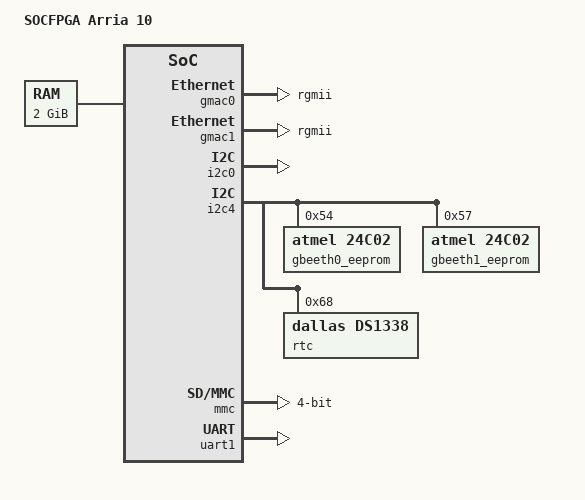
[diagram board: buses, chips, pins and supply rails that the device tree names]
/*
 * An Arria 10 platform
 * - 2GB memory
 * - 2 ethernet interfaces
 * - 2 eeproms holding EUI-48 for mac addresses
 * - serial console on second uart
 */
/dts-v1/;
#include <arm/socfpga_arria10.dtsi>

/ {
	model = "SOCFPGA Arria 10";
	compatible = "arria10,plat";

	aliases {
		serial0 = &uart1;
		ethernet0 = &gmac0;
		ethernet1 = &gmac1;
		mmc0 = &mmc;
	};

	chosen {
		linux,stdout-path = &uart1;

		environment@0 {
			compatible = "barebox,environment";
			device-path = &mmc, "partname:1";
			file-path = "barebox.env";
		};
	};

	memory {
		name = "memory";
		device_type = "memory";
		reg = <0x0 0x80000000>;
	};

	soc {
		clkmgr@ffd04000 {
			clocks {
				osc1 {
					clock-frequency = <25000000>;
				};
				cb_intosc_hs_div2_clk {
					clock-frequency = <0>;
				};
				cb_intosc_ls_clk {
					clock-frequency = <60000000>;
				};
				f2s_free_clk {
					clock-frequency = <200000000>;
				};
			};
		};
	};
};

&gmac0 {
	status = "okay";
	phy-mode = "rgmii";
	phy-addr = <0xffffffff>; /* probe for phy addr */
	/* mac-address = [CE 9A 3D 26 5E 00]; */

	/*
	 * These skews assume the user's FPGA design is adding 600ps of delay
	 * for TX_CLK on Arria 10.
	 *
	 * All skews are offset since hardware skew values for the ksz9031
	 * range from a negative skew to a positive skew.
	 * See the micrel-ksz90x1.txt Documentation file for details.
	 */
	txd0-skew-ps = <0>; /* -420ps */
	txd1-skew-ps = <0>; /* -420ps */
	txd2-skew-ps = <0>; /* -420ps */
	txd3-skew-ps = <0>; /* -420ps */
	rxd0-skew-ps = <420>; /* 0ps */
	rxd1-skew-ps = <420>; /* 0ps */
	rxd2-skew-ps = <420>; /* 0ps */
	rxd3-skew-ps = <420>; /* 0ps */
	txen-skew-ps = <0>; /* -420ps */
	txc-skew-ps = <1860>; /* 960ps */
	rxdv-skew-ps = <420>; /* 0ps */
	rxc-skew-ps = <1680>; /* 780ps */
	max-frame-size = <1518>;
};

&gmac1 {
	phy-mode = "rgmii";
	phy-addr = <0x00fffff0>; /* probe for phy addr */

	/*
	 * These skews assume the user's FPGA design is adding 600ps of delay
	 * for TX_CLK on Arria 10.
	 *
	 * All skews are offset since hardware skew values for the ksz9031
	 * range from a negative skew to a positive skew.
	 * See the micrel-ksz90x1.txt Documentation file for details.
	 */
	txd0-skew-ps = <0>; /* -420ps */
	txd1-skew-ps = <0>; /* -420ps */
	txd2-skew-ps = <0>; /* -420ps */
	txd3-skew-ps = <0>; /* -420ps */
	rxd0-skew-ps = <420>; /* 0ps */
	rxd1-skew-ps = <420>; /* 0ps */
	rxd2-skew-ps = <420>; /* 0ps */
	rxd3-skew-ps = <420>; /* 0ps */
	txen-skew-ps = <0>; /* -420ps */
	txc-skew-ps = <1860>; /* 960ps */
	rxdv-skew-ps = <420>; /* 0ps */
	rxc-skew-ps = <1680>; /* 780ps */
	max-frame-size = <3800>;
	status = "okay";
};

&i2c0 {
	speed-mode = <1>;
	status = "okay";
};

&i2c4 {
	speed-mode = <1>;
	status = "okay";

	gbeeth0_eeprom: eth0_eeprom@54 {
		compatible = "atmel,24c02";
		reg = <0x54>;
		pagesize = <16>;
	};

	gbeeth1_eeprom: eth1_eeprom@57 {
		compatible = "atmel,24c02";
		reg = <0x57>;
		pagesize = <16>;
	};

	rtc: rtc@68 {
		compatible = "dallas,ds1338";
		reg = <0x68>;
	};
};

&mmc {
	supports-highspeed;
	broken-cd;
	bus-width = <4>;
	status = "okay";
};

&uart1 {
	reg-io-width = <4>;
	status = "okay";
};
